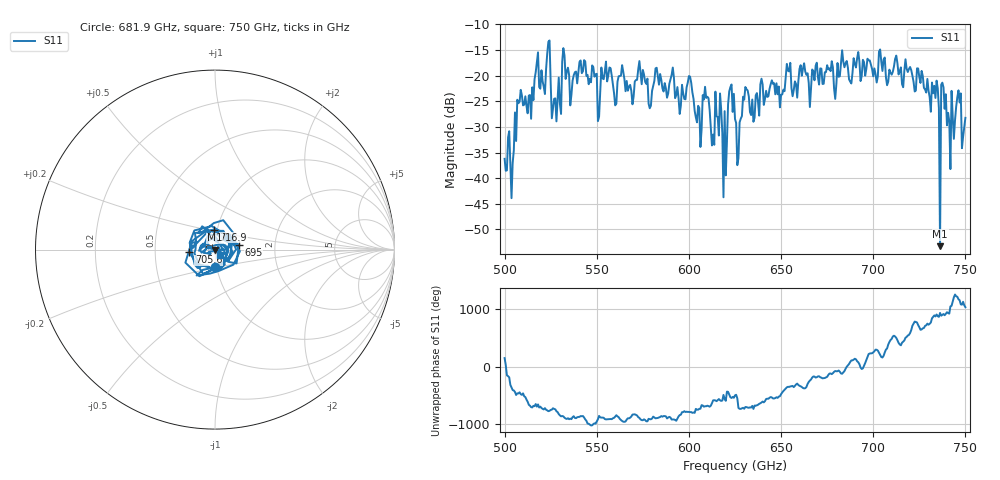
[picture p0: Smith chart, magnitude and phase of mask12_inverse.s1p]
!Created with skrf (http://scikit-rf.org).
# GHz S MA R 50.0
!freq magS11 angS11
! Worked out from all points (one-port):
!   401 points, 500 GHz to 750 GHz, reference 50 ohm
!   lowest |S11| = -53.3 dB at 736.2 GHz (marker M1), VSWR 1.00, Z = 49.8 - j0.114 ohm
!   |S11| at or under -10 dB: start of sweep to end of sweep
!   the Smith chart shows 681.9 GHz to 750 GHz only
!   S11 on the Smith chart (normalised r, x): 681.9 GHz: 0.98, -0.20; 695 GHz: 1.30, +0.07; 705.6 GHz: 0.75, -0.02; 716.9 GHz: 0.96, +0.22; 750 GHz: 1.05, -0.06
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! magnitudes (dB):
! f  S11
! 500 GHz  -36.2
! 517.5 GHz  -17.3
! 523.8 GHz  -13.4
! 526.9 GHz  -24.5
! 531.2 GHz  -17.2
! 562.5 GHz  -20.0
! 593.8 GHz  -22.2
! 600.6 GHz  -20.2
! 605.6 GHz  -26.3
! 609.4 GHz  -24.3
! 619.4 GHz  -26.9
! 622.5 GHz  -22.2
! 625 GHz  -28.5
! 627.5 GHz  -29.1
! 630.6 GHz  -22.2
! 656.2 GHz  -24.0
! 681.9 GHz  -20.1
! 687.5 GHz  -21.2
! 695 GHz  -17.4
! 705.6 GHz  -16.8
! 716.9 GHz  -19.0
! 718.8 GHz  -19.3
! 733.8 GHz  -24.4
! 736.2 GHz  -53.3
! 738.1 GHz  -22.3
! 740.6 GHz  -27.3
! 746.2 GHz  -22.9
! 750 GHz  -28.2
